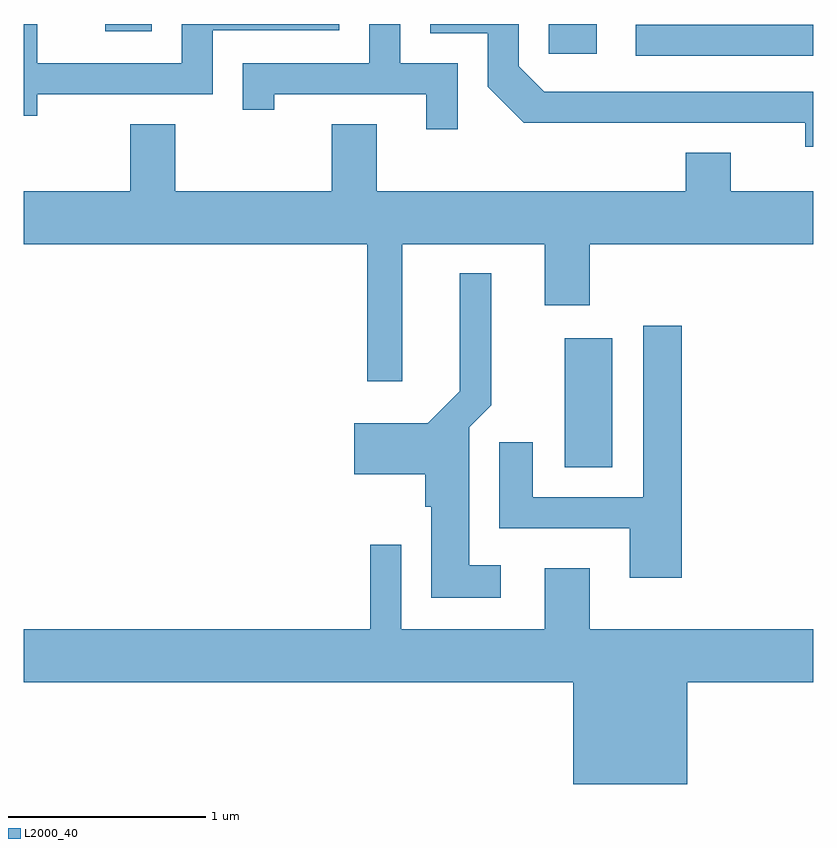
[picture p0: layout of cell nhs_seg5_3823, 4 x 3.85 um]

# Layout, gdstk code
import gdstk
lib = gdstk.Library(unit=1e-6, precision=1e-09)
def R(c, l, rs):  # rectangles x0, y0, x1, y1
    for r in rs: c.add(gdstk.rectangle(r[:2], r[2:], *l))
def P(c, l, *ps):  # polygons
    for p in ps: c.add(gdstk.Polygon(p, *l))
L2000_40 = (2000, 40)

nhs_seg5_3823 = lib.new_cell('nhs_seg5_3823')
R(nhs_seg5_3823, L2000_40, [(300.351,1517.826,300.594,1518.479), (300.713,1519.911,301.611,1520.069), (300.271,1519.921,300.513,1520.072), (298.023,1520.036,298.259,1520.072)])
P(nhs_seg5_3823, L2000_40, [(299.809,1519.874),(299.519,1519.874),(299.519,1520.072),(299.361,1520.072),(299.361,1519.874),(298.721,1519.874),(298.721,1519.638),(298.879,1519.638),(298.879,1519.716),(299.651,1519.716),(299.651,1519.538),(299.809,1519.538)],
  [(301.611,1519.729),(300.247,1519.729),(300.119,1519.857),(300.119,1520.072),(299.671,1520.072),(299.671,1520.026),(299.961,1520.026),(299.961,1519.754),(300.144,1519.571),(301.571,1519.571),(301.571,1519.451),(301.611,1519.451)],
  [(297.679,1519.716),(298.569,1519.716),(298.569,1520.041),(299.209,1520.041),(299.209,1520.072),(298.411,1520.072),(298.411,1519.874),(297.679,1519.874),(297.679,1520.072),(297.611,1520.072),(297.611,1519.606),(297.679,1519.606)],
  [(299.529,1518.956),(300.251,1518.956),(300.251,1518.646),(300.479,1518.646),(300.479,1518.956),(301.611,1518.956),(301.611,1519.224),(301.194,1519.224),(301.194,1519.419),(300.966,1519.419),(300.966,1519.224),(299.399,1519.224),(299.399,1519.564),(299.171,1519.564),(299.171,1519.224),(298.379,1519.224),(298.379,1519.564),(298.151,1519.564),(298.151,1519.224),(297.611,1519.224),(297.611,1518.956),(299.351,1518.956),(299.351,1518.261),(299.529,1518.261)],
  [(300.028,1517.329),(299.869,1517.329),(299.869,1518.029),(299.979,1518.139),(299.979,1518.808),(299.821,1518.808),(299.821,1518.212),(299.659,1518.049),(299.286,1518.049),(299.286,1517.791),(299.646,1517.791),(299.646,1517.626),(299.676,1517.626),(299.676,1517.166),(300.028,1517.166)],
  [(300.944,1518.544),(300.751,1518.544),(300.751,1517.674),(300.189,1517.674),(300.189,1517.953),(300.021,1517.953),(300.021,1517.516),(300.681,1517.516),(300.681,1517.266),(300.944,1517.266)],
  [(300.974,1516.736),(301.611,1516.736),(301.611,1517.004),(300.479,1517.004),(300.479,1517.314),(300.251,1517.314),(300.251,1517.004),(299.524,1517.004),(299.524,1517.433),(299.366,1517.433),(299.366,1517.004),(297.611,1517.004),(297.611,1516.736),(300.396,1516.736),(300.396,1516.221),(300.974,1516.221)])

lib.write_gds('nhs_seg5_3823.gds')
